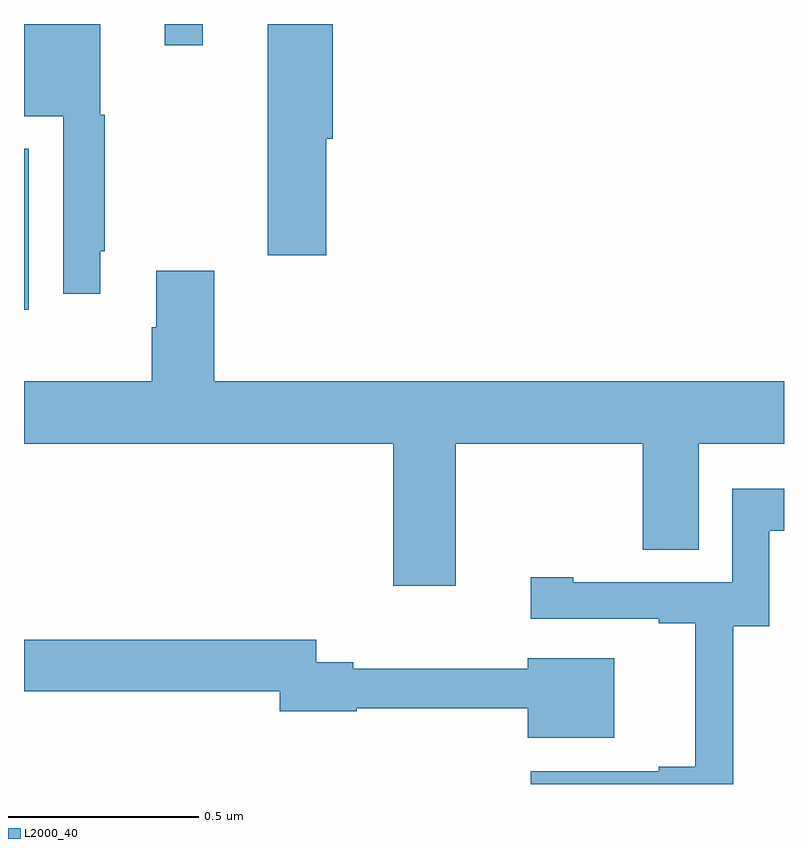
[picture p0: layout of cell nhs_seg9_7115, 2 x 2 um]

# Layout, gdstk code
import gdstk
lib = gdstk.Library(unit=1e-6, precision=1e-09)
def R(c, l, rs):  # rectangles x0, y0, x1, y1
    for r in rs: c.add(gdstk.rectangle(r[:2], r[2:], *l))
def P(c, l, *ps):  # polygons
    for p in ps: c.add(gdstk.Polygon(p, *l))
L2000_40 = (2000, 40)

nhs_seg9_7115 = lib.new_cell('nhs_seg9_7115')
R(nhs_seg9_7115, L2000_40, [(200,1220.748,200.013,1221.172), (200.371,1221.444,200.47,1221.5)])
P(nhs_seg9_7115, L2000_40, [(200.795,1221.198),(200.813,1221.198),(200.813,1221.5),(200.642,1221.5),(200.642,1221.198),(200.641,1221.198),(200.641,1220.892),(200.795,1220.892)],
  [(200.2,1220.902),(200.212,1220.902),(200.212,1221.261),(200.2,1221.261),(200.2,1221.5),(200,1221.5),(200,1221.257),(200.103,1221.257),(200.103,1220.79),(200.2,1220.79)],
  [(201.136,1220.396),(201.628,1220.396),(201.628,1220.116),(201.775,1220.116),(201.775,1220.396),(202,1220.396),(202,1220.56),(200.501,1220.56),(200.501,1220.851),(200.348,1220.851),(200.348,1220.702),(200.336,1220.702),(200.336,1220.56),(200,1220.56),(200,1220.396),(200.972,1220.396),(200.972,1220.022),(201.136,1220.022)],
  [(201.867,1219.915),(201.961,1219.915),(201.961,1220.166),(202,1220.166),(202,1220.277),(201.864,1220.277),(201.864,1220.031),(201.445,1220.031),(201.445,1220.044),(201.333,1220.044),(201.333,1219.935),(201.671,1219.935),(201.671,1219.923),(201.767,1219.923),(201.767,1219.546),(201.671,1219.546),(201.671,1219.533),(201.333,1219.533),(201.333,1219.5),(201.867,1219.5)],
  [(201.553,1219.831),(201.326,1219.831),(201.326,1219.803),(200.866,1219.803),(200.866,1219.82),(200.769,1219.82),(200.769,1219.88),(200,1219.88),(200,1219.744),(200.673,1219.744),(200.673,1219.692),(200.876,1219.692),(200.876,1219.699),(201.326,1219.699),(201.326,1219.622),(201.553,1219.622)])

lib.write_gds('nhs_seg9_7115.gds')
